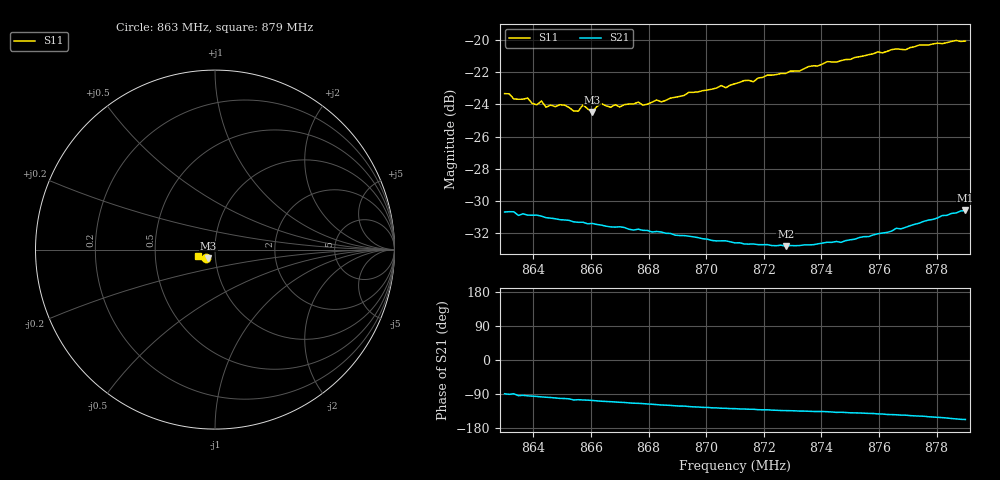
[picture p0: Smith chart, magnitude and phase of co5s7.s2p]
# HZ S RI R 50
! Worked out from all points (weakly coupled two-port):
!   101 points, 863 MHz to 879 MHz, reference 50 ohm
!   highest |S21| = -30.57 dB at 879 MHz (marker M1); lowest = -32.8 dB at 872.76 MHz (marker M2)
!   lowest |S11| = -24.5 dB at 866.04 MHz (marker M3), VSWR 1.13, Z = 46.2 - j4.3 ohm
!   |S11| at or under -10 dB: start of sweep to end of sweep
!   S12 and S22 are empty: the file has one direction only
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8.63e8  -0.0516 -0.0444  0.000501 -0.0293  0 0  0 0
8.6332e8  -0.0464 -0.0463  0.000445 -0.0293  0 0  0 0
8.638e8  -0.0477 -0.0456  -0.00231 -0.0285  0 0  0 0
8.6412e8  -0.0445 -0.0444  -0.00309 -0.0285  0 0  0 0
8.6428e8  -0.0445 -0.0468  -0.00365 -0.0282  0 0  0 0
8.6444e8  -0.0427 -0.0447  -0.00404 -0.0278  0 0  0 0
8.6508e8  -0.0421 -0.0464  -0.00556 -0.0271  0 0  0 0
8.6556e8  -0.0393 -0.0455  -0.00694 -0.0263  0 0  0 0
8.6572e8  -0.0411 -0.0476  -0.00727 -0.0262  0 0  0 0
8.6604e8  -0.0376 -0.0464  -0.00775 -0.0258  0 0  0 0
8.6636e8  -0.0413 -0.048  -0.00859 -0.0252  0 0  0 0
8.67e8  -0.0382 -0.0487  -0.00968 -0.0245  0 0  0 0
8.6764e8  -0.0385 -0.0512  -0.0107 -0.0236  0 0  0 0
8.678e8  -0.0385 -0.0496  -0.0109 -0.0233  0 0  0 0
8.6828e8  -0.0382 -0.0526  -0.0119 -0.0225  0 0  0 0
8.6844e8  -0.0383 -0.0515  -0.0122 -0.0223  0 0  0 0
8.694e8  -0.0412 -0.055  -0.0134 -0.0207  0 0  0 0
8.71e8  -0.045 -0.0576  -0.0146 -0.0184  0 0  0 0
8.7276e8  -0.0518 -0.0592  -0.0158 -0.0166  0 0  0 0
8.7372e8  -0.0573 -0.0601  -0.0166 -0.0162  0 0  0 0
8.7644e8  -0.0766 -0.053  -0.0207 -0.015  0 0  0 0
8.79e8  -0.0921 -0.0363  -0.0273 -0.0116  0 0  0 0
